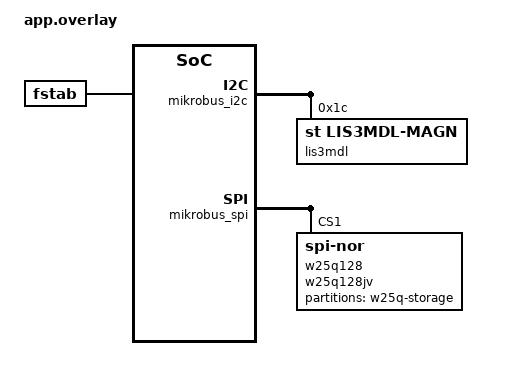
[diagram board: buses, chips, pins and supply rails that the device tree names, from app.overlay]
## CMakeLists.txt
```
cmake_minimum_required(VERSION 3.20.0)

set(BOARD nucleo_f446re)
set(SHIELD launch_mikroe)

find_package(Zephyr REQUIRED HINTS $ENV{ZEPHYR_BASE})
project(sample_logging  LANGUAGES C)

FILE(GLOB app_sources src/*.c)
target_sources(app PRIVATE ${app_sources})
```

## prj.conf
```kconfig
CONFIG_SERIAL=y
CONFIG_STDOUT_CONSOLE=y

CONFIG_DEBUG=y
CONFIG_LOG=y

CONFIG_I2C=y
CONFIG_SENSOR=y
#CONFIG_LIS3MDL=y
#CONFIG_LIS3MDL_ODR="1000"
CONFIG_CBPRINTF_FP_SUPPORT=y

CONFIG_SPI=y
CONFIG_FLASH=y
CONFIG_FLASH_MAP=y
CONFIG_FLASH_PAGE_LAYOUT=y
# CONFIG_CLEAR_STORAGE_PARTITION=y

CONFIG_FILE_SYSTEM=y
CONFIG_FILE_SYSTEM_LITTLEFS=y
CONFIG_FS_LITTLEFS_FMP_DEV=y
CONFIG_MAIN_STACK_SIZE=4096

CONFIG_SHELL=y
CONFIG_FLASH_SHELL=y
```

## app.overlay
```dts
/ {
	chosen {
		zephyr,console = &usart2;
	};

	aliases {
		magn = &lis3mdl;
		led = &shield_led; 
		storage = &w25q128;
		logfs = &lfs1;
	};

	fstab {
		compatible = "zephyr,fstab";
		lfs1: lfs1 {
			compatible = "zephyr,fstab,littlefs";
			mount-point = "/lfs";
			partition = <&external_storage_partition>;
			automount;

			// the binding reccomends defaults for these
			read-size = <16>;
			prog-size = <16>;
			cache-size = <64>; // may need to grow for optimization
			lookahead-size = <32>;
			block-cycles = <(90 * 1000)>; 
			// the datasheet gives 100K P-E cycles
			// NOTE: this seems to default to 512 for the mounted filesystem
			// anyway
		};
	};
};

&mikrobus_i2c {
	lis3mdl: lis3mdl@1c {
		compatible = "st,lis3mdl-magn";
		reg = <0x1c>;
	};
};

&mikrobus_spi {
	w25q128: w25q128jv@1 {
		compatible = "jedec,spi-nor"; // conforms to JEDEC SFDP
		reg = <1>; // connected to to connector 1

		size = <DT_SIZE_M(128)>; // w25q128 - 128 MBit (S 11, p.75) 
		jedec-id = [ef 40 18]; // 0xef4018 (Table 8.1.1, p.22)
		spi-max-frequency = <(10 * 1000000)>; // fR = 50 MHz (Table 9.6, p.65)
		// but sticking to 10 because 50 doesn't work on my hardware, at time of
		// writing

		has-dpd;
		// Power-down 0xB9 (S 8.2.21)
		t-enter-dpd = <(3 * 1000)>; // tDP = 3 us (Table 9.6, p.66)
		// Release Power-down 0xAB (S 8.2.22)
		t-exit-dpd = <(3 * 1000)>; // tRES1 = 3 us (Table 9.6, p.66)

		partitions {
			compatible = "fixed-partitions";
			#address-cells = <1>;
			#size-cells = <1>;

			external_storage_partition: partition@0 {
				label = "w25q-storage";
				reg = <0 DT_SIZE_M(128)>; // takes up the whole flash
			};
		};
	};
};

// Everything else is devicetree fragments I found helpful while doing this

/* Fragment from Discovery 1475 board, which has several ST i2c sensors

&i2c2 {
	pinctrl-0 = <&i2c2_scl_pb10 &i2c2_sda_pb11>;
	pinctrl-names = "default";
	status = "okay";
	clock-frequency = <I2C_BITRATE_FAST>;

	lis3mdl-magn@1e {
		compatible = "st,lis3mdl-magn";
		reg = <0x1e>;
	};

	hts221@5f {
		compatible = "st,hts221";
		reg = <0x5f>;
		drdy-gpios = <&gpiod 15 GPIO_ACTIVE_HIGH>;
	};

	lps22hb-press@5d {
		compatible = "st,lps22hb-press";
		reg = <0x5d>;
	};

	lsm6dsl: lsm6dsl@6a {
		compatible = "st,lsm6dsl";
		reg = <0x6a>;
		irq-gpios = <&gpiod 11 GPIO_ACTIVE_HIGH>;
	};

	vl53l0x@29 {
		compatible = "st,vl53l0x";
		reg = <0x29>;
		xshut-gpios = <&gpioc 6 GPIO_ACTIVE_LOW>;
	};
};
*/


/* Fragment from Adafruit Feather STM32F405, cited by samples/drivers/flash 
&spi1 {
	pinctrl-0 = <&spi1_nss_pa15 &spi1_sck_pb3
		     &spi1_miso_pb4 &spi1_mosi_pb5>;
	pinctrl-names = "default";
	status = "okay";
	cs-gpios = <&gpioa 15 GPIO_ACTIVE_LOW>;
	gd25q16: gd25q16c@0 {
		compatible = "jedec,spi-nor";
		reg = <0>;
		spi-max-frequency = <80000000>;
		size = <0x200000>;
		has-dpd;
		t-enter-dpd = <20000>;
		t-exit-dpd = <100000>;
		jedec-id = [c8 40 15];
	};
};
*/
```

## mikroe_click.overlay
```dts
/*
 * Copyright (c) 2023 Andriy Gelman
 *
 * SPDX-License-Identifier: Apache-2.0
 */

/ {
	mikrobus_header_1: mikrobus-connector-1 {
		compatible = "mikro-bus";
		#gpio-cells = <2>;
		gpio-map-mask = <0xffffffff 0xffffffc0>;
		gpio-map-pass-thru = <0 0x3f>;
		gpio-map =	<0 0 &arduino_header 0 0>,	/* AN   -> A0  */
				<1 0 &arduino_header 3 0>,	/* RST  -> A3  */
				<2 0 &arduino_header 16 0>,	/* CS   -> D10 */
				<3 0 &arduino_header 19 0>,	/* SCK  -> D13 */
				<4 0 &arduino_header 18 0>,	/* MISO -> D12 */
				<5 0 &arduino_header 17 0>,	/* MOSI -> D11 */
								/* +3.3V */
								/* GND */
				<6 0 &arduino_header 12 0>,	/* PWM  -> D6  */
				<7 0 &arduino_header 8 0>,	/* INT  -> D2  */
				<8 0 &arduino_header 6 0>,	/* RX   -> D0  */
				<9 0 &arduino_header 7 0>,	/* TX   -> D1  */
				<10 0 &arduino_header 5 0>,	/* SCL  -> A5  */
				<11 0 &arduino_header 4 0>;	/* SDA  -> A4  */
								/* +5V */
								/* GND */
	};

	mikrobus_header_2: mikrobus-connector-2 {
		compatible = "mikro-bus";
		#gpio-cells = <2>;
		gpio-map-mask = <0xffffffff 0xffffffc0>;
		gpio-map-pass-thru = <0 0x3f>;
		gpio-map =	<0 0 &arduino_header 1 0>,	/* AN   -> A1  */
				<1 0 &arduino_header 2 0>,	/* RST  -> A2  */
				<2 0 &arduino_header 15 0>,	/* CS   -> D9 */
				<3 0 &arduino_header 19 0>,	/* SCK  -> D13 */
				<4 0 &arduino_header 18 0>,	/* MISO -> D12 */
				<5 0 &arduino_header 17 0>,	/* MOSI -> D11 */
								/* +3.3V */
								/* GND */
				<6 0 &arduino_header 11 0>,	/* PWM  -> D5  */
				<7 0 &arduino_header 9 0>,	/* INT  -> D3  */
				<8 0 &arduino_header 6 0>,	/* RX   -> D0  */
				<9 0 &arduino_header 7 0>,	/* TX   -> D1  */
				<10 0 &arduino_header 5 0>,	/* SCL  -> A5  */
				<11 0 &arduino_header 4 0>;	/* SDA  -> A4  */
								/* +5V */
								/* GND */
	};

	leds: leds {
		compatible = "gpio-leds";
		shield_led: led_3 {
			gpios = <&arduino_header 13 GPIO_ACTIVE_HIGH>;
		};
	};

};

mikrobus_spi: &arduino_spi {
	cs-gpios = <&mikrobus_header_1 2 GPIO_ACTIVE_LOW>, 
				<&mikrobus_header_2 2 GPIO_ACTIVE_LOW>;

};
mikrobus_i2c: &arduino_i2c {};

mikrobus_serial: &usart2 {}; // enabled by default on the nucleo

shield_serial: &uart4 { // not enabled by default on the nucleo
	pinctrl-names = "default";
	pinctrl-0 = <&uart4_tx_pa0 &uart4_rx_pa1>; 
	current-speed = <115200>;
	status = "okay";
};
```

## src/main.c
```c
#include <zephyr/device.h>
#include <zephyr/devicetree.h>
#include <zephyr/kernel.h>

#include <zephyr/drivers/flash.h>
#include <zephyr/drivers/gpio.h>
#include <zephyr/drivers/sensor.h>
#include <zephyr/fs/fs.h>
#include <zephyr/logging/log.h>
// #include <zephyr/fs/littlefs.h>

// #include <string.h>
#include <stdio.h>

// node identifiers
// NOTE: Hardware prerequisites
// 	Launch Mikroe Click Shield
// 	LIS3MDL connected to shield i2c
// 	W25Q128JV breakout connected to port 1

// devicetree gets
#define LED_NODE DT_ALIAS(led)
// #define MAG_NODE DT_ALIAS(magn)
#define FLASH_NODE DT_ALIAS(storage)

const struct gpio_dt_spec led = GPIO_DT_SPEC_GET(LED_NODE, gpios);
// const struct device *const mag = DEVICE_DT_GET(MAG_NODE);
const struct device *const flash = DEVICE_DT_GET(FLASH_NODE);

int32_t increment_file_int32(char *fname, int32_t *count) {
  int32_t ret;
  int32_t close_ret;
  struct fs_file_t file;

  // prepare file for usage
  fs_file_t_init(&file);
  ret = fs_open(&file, fname, FS_O_CREATE | FS_O_RDWR);
  if (ret < 0) {
    LOG_PRINTK("Failed to open %s: %d\n", fname, ret);
    return ret;
  }

  // get the counter from the file
  ret = fs_read(&file, count, sizeof(*count));
  if (ret < 0) {
    LOG_PRINTK("Failed to read counter: %d\n", ret);
    goto exit;
  }

  (*count)++;

  // go back to the start of the file
  ret = fs_seek(&file, 0, FS_SEEK_SET);
  if (ret < 0) {
    LOG_PRINTK("Failed to seek to start: %d\n", ret);
    goto exit;
  }

  // write the counter to the file
  ret = fs_write(&file, count, sizeof(*count));
  if (ret < 0) {
    LOG_PRINTK("Failed to write new count: %d\n", ret);
  }

exit:
  close_ret = fs_close(&file);
  if (close_ret < 0) {
    LOG_PRINTK("Failed to close %s: %d\n", fname, close_ret);
    return close_ret;
  }
  return ret;
}

// int32_t read_mag(struct sensor_value* val) {
// int32_t ret = 0;
//
// ret = sensor_sample_fetch(mag);
// if (ret < 0) {
// LOG_PRINTK("Unable to fetch sensor sample: %d\n", ret);
// return ret;
// }
//
// ret = sensor_channel_get(mag, SENSOR_CHAN_MAGN_XYZ, val);
// if (ret < 0) {
// LOG_PRINTK("Unable to read sensor channel: %d\n", ret);
// return ret;
// }
//
// LOG_PRINTK("X: %f\tY: %f\tZ: %f\n",
// sensor_value_to_double(val),
// sensor_value_to_double(val + 1),
// sensor_value_to_double(val + 2));
//
// return 0;
// }

int main(void) {
  int32_t ret = 0;
  // struct sensor_value mag_field[3];

  int32_t boot_counter = -1;

  // Boilerplate: set up GPIO
  if (!gpio_is_ready_dt(&led)) {
    printf("GPIO is not ready\n");
    return 0;
  }

  if (gpio_pin_configure_dt(&led, GPIO_OUTPUT_ACTIVE) < 0) {
    printf("Unable to configure LED output pin\n");
    return 0;
  }

  //   if (!device_is_ready(mag)) {
  // printf("Device %s is not ready\n", mag->name);
  // return 0;
  //   }

#ifdef CONFIG_CLEAR_STORAGE_PARTITION
  if (!device_is_ready(flash)) {
    LOG_PRINTK("Cleared storage\n");

    printf("Device %s is not ready\n", flash->name);
    return 0;
  }
  flash_erase(flash, 0, DT_PROP(FLASH_NODE, size));
#endif

  ret = increment_file_int32("/lfs/boot_count", &boot_counter);
  if (ret >= 0) {
    LOG_PRINTK("Successfully read and updated boot counter: %d boots\n",
               boot_counter);
  } else {
    LOG_PRINTK("Failed to read file\n");
  }

  // forever
  while (1) {
    gpio_pin_toggle_dt(&led);
    // read_mag(mag_field);
    k_msleep(100);
  }
  return 0;
}
```
